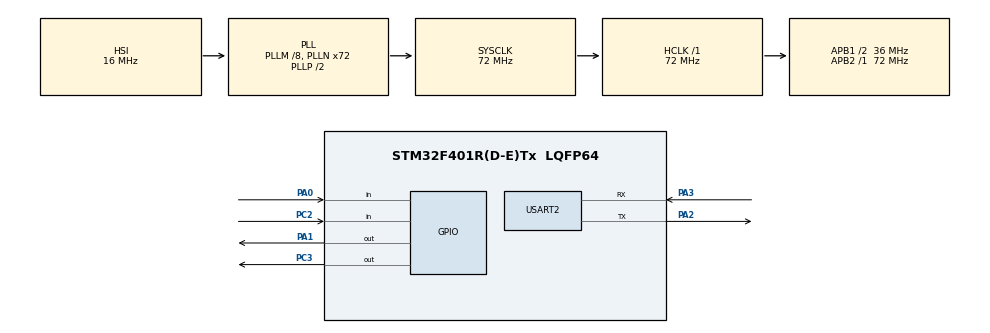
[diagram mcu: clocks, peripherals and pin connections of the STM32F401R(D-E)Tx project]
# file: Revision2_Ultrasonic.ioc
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Mcu.Family=STM32F4
Mcu.Name=STM32F401R(D-E)Tx
Mcu.Package=LQFP64
NVIC.PriorityGroup=NVIC_PRIORITYGROUP_4
PA0-WKUP.Signal=GPIO_Input
PA1.GPIO_ModeDefaultOutputPP=GPIO_MODE_OUTPUT_OD
PA1.GPIO_PuPd=GPIO_NOPULL
PA1.Signal=GPIO_Output
PA2.Mode=Asynchronous
PA2.Signal=USART2_TX
PA3.Mode=Asynchronous
PA3.Signal=USART2_RX
PB10.Signal=S_TIM2_CH3
PC2.Signal=GPIO_Input
PC3.Signal=GPIO_Output
ProjectManager.HeapSize=0x200
ProjectManager.StackSize=0x400
ProjectManager.TargetToolchain=STM32CubeIDE
RCC.48MHZClocksFreq_Value=36000000
RCC.AHBFreq_Value=72000000
RCC.APB1CLKDivider=RCC_HCLK_DIV2
RCC.APB1Freq_Value=36000000
RCC.APB1TimFreq_Value=72000000
RCC.APB2Freq_Value=72000000
RCC.APB2TimFreq_Value=72000000
RCC.CortexFreq_Value=72000000
RCC.HCLKFreq_Value=72000000
RCC.HSE_VALUE=25000000
RCC.HSI_VALUE=16000000
RCC.LSE_VALUE=32768
RCC.PLLM=8
RCC.PLLN=72
RCC.SYSCLKFreq_VALUE=72000000
RCC.SYSCLKSource=RCC_SYSCLKSOURCE_PLLCLK
RCC.VCOOutputFreq_Value=144000000
SH.S_TIM2_CH3.0=TIM2_CH3
TIM2.Prescaler=72
USART2.VirtualMode=VM_ASYNC
VP_TIM2_VS_ClockSourceINT.Mode=Internal
board=custom

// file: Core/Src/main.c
/* USER CODE BEGIN Header */
/**
  ******************************************************************************
  * @file           : main.c
  * @brief          : Main program body
  ******************************************************************************
  * @attention
  *
  * Copyright (c) 2024 STMicroelectronics.
  * All rights reserved.
  *
  * This software is licensed under terms that can be found in the LICENSE file
  * in the root directory of this software component.
  * If no LICENSE file comes with this software, it is provided AS-IS.
  *
  ******************************************************************************
  */
/* USER CODE END Header */
#include "main.h"

/* USER CODE BEGIN Includes */
#include <string.h>
#include <stdio.h>
#include "stm32f4xx_hal_tim.h"
#include "stm32f4xx_hal_gpio.h"
#include "stm32f4xx_hal_uart.h"

/* USER CODE END Includes */

/* USER CODE BEGIN PTD */
#define TRIG_PIN GPIO_PIN_1
#define TRIG_PORT GPIOA
#define ECHO_PIN GPIO_PIN_0
#define ECHO_PORT GPIOA

#define MAX_PWM_VALUE 400
/* USER CODE END PTD */

TIM_HandleTypeDef htim2;

UART_HandleTypeDef huart2;

void SystemClock_Config(void);
static void MX_GPIO_Init(void);
static void MX_USART2_UART_Init(void);
static void MX_TIM2_Init(void);

/* USER CODE BEGIN 0 */

uint32_t DWT_Delay_Init(void)
{
	CoreDebug->DEMCR |= CoreDebug_DEMCR_TRCENA_Msk;
	DWT->CYCCNT = 0; // Reset the counter
	DWT->CTRL |= DWT_CTRL_CYCCNTENA_Msk; // Enable the counter

}
__STATIC_INLINE void DWT_Delay_us(volatile uint32_t au32_microseconds)
{
  uint32_t au32_initial_ticks = DWT->CYCCNT;
  uint32_t au32_ticks = (HAL_RCC_GetHCLKFreq() / 1000000);
  au32_microseconds *= au32_ticks;
  while ((DWT->CYCCNT - au32_initial_ticks) < au32_microseconds-au32_ticks);
}

float measure(GPIO_TypeDef *GPIOx, uint16_t TRIG, uint16_t ECHO) {
    // Trigger the ultrasonic sensor
    HAL_GPIO_WritePin(GPIOx, TRIG, GPIO_PIN_SET);
    DWT_Delay_us(10);  // Precise 10 μs pulse
    HAL_GPIO_WritePin(GPIOx, TRIG, GPIO_PIN_RESET);

    // Wait for ECHO to go HIGH with a timeout
    uint32_t timeout = DWT->CYCCNT + (SystemCoreClock / 1000 * 50);  // 50 ms timeout
    while (HAL_GPIO_ReadPin(GPIOx, ECHO) == GPIO_PIN_RESET) {
        if (DWT->CYCCNT > timeout) return -1.0;  // Timeout error
    }
    uint32_t start_time = DWT->CYCCNT;

    // Wait for ECHO to go LOW with a timeout
    while (HAL_GPIO_ReadPin(GPIOx, ECHO) == GPIO_PIN_SET) {
        if (DWT->CYCCNT > timeout) return -1.0;  // Timeout error
    }
    uint32_t end_time = DWT->CYCCNT;

    // Calculate pulse duration in microseconds
    float pulse_duration_us = (float)(end_time - start_time) / (SystemCoreClock / 1000000.0);

    // Calculate distance with temperature compensation
    float speed_of_sound = 343;  // m/s
    float distance = (pulse_duration_us * speed_of_sound / 10000) / 2;  // cm

    return distance;
}

/* USER CODE END 0 */

int main(void)
{

  /* MCU Configuration--------------------------------------------------------*/

  /* Reset of all peripherals, Initializes the Flash interface and the Systick. */
  HAL_Init();

  /* Configure the system clock */
  SystemClock_Config();

  /* Initialize all configured peripherals */
  MX_GPIO_Init();
  MX_USART2_UART_Init();
  MX_TIM2_Init();
  DWT_Delay_Init();
  /* USER CODE BEGIN 2 */
  char message[50];
  sprintf(message, "Starting...\r\n");
  HAL_UART_Transmit(&huart2, message, strlen((char*)message), HAL_MAX_DELAY);
  uint8_t cnt = 0;
  /* USER CODE END 2 */

  /* Infinite loop */
  /* USER CODE BEGIN WHILE */
  while (1)
  {
	  //float distance = measure(GPIOC, GPIO_PIN_3, GPIO_PIN_2);
	  float distance = measure(GPIOA, GPIO_PIN_1, GPIO_PIN_0);
	  sprintf(message, "Ultrasonic 1: %.2f cm\r\n", distance);
	  HAL_UART_Transmit(&huart2, message, strlen((char*)message), HAL_MAX_DELAY);

	  distance = measure(GPIOC, GPIO_PIN_3, GPIO_PIN_2);
	  sprintf(message, "Ultrasonic 2: %.2f cm\r\n", distance);
	  HAL_UART_Transmit(&huart2, message, strlen((char*)message), HAL_MAX_DELAY);
	  HAL_Delay(500);
	  cnt++;
	  if (cnt == 250) break;
    /* USER CODE END WHILE */

  }
}

void SystemClock_Config(void)
{
  RCC_OscInitTypeDef RCC_OscInitStruct = {0};
  RCC_ClkInitTypeDef RCC_ClkInitStruct = {0};

  /** Configure the main internal regulator output voltage
  */
  __HAL_RCC_PWR_CLK_ENABLE();
  __HAL_PWR_VOLTAGESCALING_CONFIG(PWR_REGULATOR_VOLTAGE_SCALE2);

  /** Initializes the RCC Oscillators according to the specified parameters
  * in the RCC_OscInitTypeDef structure.
  */
  RCC_OscInitStruct.OscillatorType = RCC_OSCILLATORTYPE_HSI;
  RCC_OscInitStruct.HSIState = RCC_HSI_ON;
  RCC_OscInitStruct.HSICalibrationValue = RCC_HSICALIBRATION_DEFAULT;
  RCC_OscInitStruct.PLL.PLLState = RCC_PLL_ON;
  RCC_OscInitStruct.PLL.PLLSource = RCC_PLLSOURCE_HSI;
  RCC_OscInitStruct.PLL.PLLM = 8;
  RCC_OscInitStruct.PLL.PLLN = 72;
  RCC_OscInitStruct.PLL.PLLP = RCC_PLLP_DIV2;
  RCC_OscInitStruct.PLL.PLLQ = 4;
  if (HAL_RCC_OscConfig(&RCC_OscInitStruct) != HAL_OK)
  {
    Error_Handler();
  }

  /** Initializes the CPU, AHB and APB buses clocks
  */
  RCC_ClkInitStruct.ClockType = RCC_CLOCKTYPE_HCLK|RCC_CLOCKTYPE_SYSCLK
                              |RCC_CLOCKTYPE_PCLK1|RCC_CLOCKTYPE_PCLK2;
  RCC_ClkInitStruct.SYSCLKSource = RCC_SYSCLKSOURCE_PLLCLK;
  RCC_ClkInitStruct.AHBCLKDivider = RCC_SYSCLK_DIV1;
  RCC_ClkInitStruct.APB1CLKDivider = RCC_HCLK_DIV2;
  RCC_ClkInitStruct.APB2CLKDivider = RCC_HCLK_DIV1;

  if (HAL_RCC_ClockConfig(&RCC_ClkInitStruct, FLASH_LATENCY_2) != HAL_OK)
  {
    Error_Handler();
  }
}

static void MX_TIM2_Init(void)
{

  TIM_ClockConfigTypeDef sClockSourceConfig = {0};
  TIM_MasterConfigTypeDef sMasterConfig = {0};

  htim2.Instance = TIM2;
  htim2.Init.Prescaler = 72;
  htim2.Init.CounterMode = TIM_COUNTERMODE_UP;
  htim2.Init.Period = 4294967295;
  htim2.Init.ClockDivision = TIM_CLOCKDIVISION_DIV1;
  htim2.Init.AutoReloadPreload = TIM_AUTORELOAD_PRELOAD_DISABLE;
  if (HAL_TIM_Base_Init(&htim2) != HAL_OK)
  {
    Error_Handler();
  }
  sClockSourceConfig.ClockSource = TIM_CLOCKSOURCE_INTERNAL;
  if (HAL_TIM_ConfigClockSource(&htim2, &sClockSourceConfig) != HAL_OK)
  {
    Error_Handler();
  }
  sMasterConfig.MasterOutputTrigger = TIM_TRGO_RESET;
  sMasterConfig.MasterSlaveMode = TIM_MASTERSLAVEMODE_DISABLE;
  if (HAL_TIMEx_MasterConfigSynchronization(&htim2, &sMasterConfig) != HAL_OK)
  {
    Error_Handler();
  }

}

static void MX_USART2_UART_Init(void)
{

  huart2.Instance = USART2;
  huart2.Init.BaudRate = 115200;
  huart2.Init.WordLength = UART_WORDLENGTH_8B;
  huart2.Init.StopBits = UART_STOPBITS_1;
  huart2.Init.Parity = UART_PARITY_NONE;
  huart2.Init.Mode = UART_MODE_TX_RX;
  huart2.Init.HwFlowCtl = UART_HWCONTROL_NONE;
  huart2.Init.OverSampling = UART_OVERSAMPLING_16;
  if (HAL_UART_Init(&huart2) != HAL_OK)
  {
    Error_Handler();
  }

}

static void MX_GPIO_Init(void)
{

/* USER CODE BEGIN MX_GPIO_Init_2 */
  GPIO_InitTypeDef GPIO_InitStruct = {0};
  __HAL_RCC_GPIOA_CLK_ENABLE();
  __HAL_RCC_GPIOC_CLK_ENABLE();

  GPIO_InitStruct.Pin = GPIO_PIN_1;  // Trigger pin for GPIOA
  GPIO_InitStruct.Mode = GPIO_MODE_OUTPUT_PP;  // Push-pull output mode
  GPIO_InitStruct.Pull = GPIO_NOPULL;  // No pull-up or pull-down resistors
  HAL_GPIO_Init(GPIOA, &GPIO_InitStruct);

  GPIO_InitStruct.Pin = GPIO_PIN_3;  // Trigger pin for GPIOC
  HAL_GPIO_Init(GPIOC, &GPIO_InitStruct);

  // Configure Echo pins as input for GPIOA (Pin 0) and GPIOC (Pin 2)
  GPIO_InitStruct.Pin = GPIO_PIN_0;  // Echo pin for GPIOA
  GPIO_InitStruct.Mode = GPIO_MODE_INPUT;  // Input mode for Echo
  HAL_GPIO_Init(GPIOA, &GPIO_InitStruct);

  GPIO_InitStruct.Pin = GPIO_PIN_2;  // Echo pin for GPIOC
  HAL_GPIO_Init(GPIOC, &GPIO_InitStruct);
/* USER CODE END MX_GPIO_Init_2 */
}

void Error_Handler(void)
{
  __disable_irq();
  while (1)
  {
  }
}
